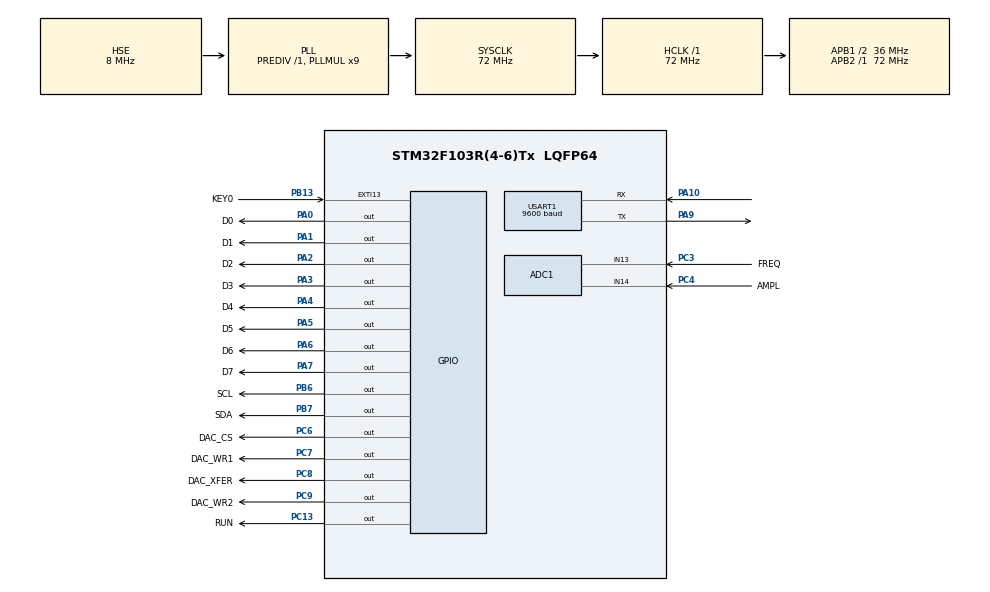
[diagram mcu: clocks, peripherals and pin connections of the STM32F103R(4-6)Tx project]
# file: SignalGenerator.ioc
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ADC1.Channel-1\#ChannelRegularConversion=ADC_CHANNEL_13
ADC1.Channel-2\#ChannelRegularConversion=ADC_CHANNEL_14
ADC1.DiscontinuousConvMode=ENABLE
ADC1.EnableRegularConversion=ENABLE
ADC1.NbrOfConversion=2
ADC1.NbrOfConversionFlag=1
ADC1.Rank-1\#ChannelRegularConversion=1
ADC1.Rank-2\#ChannelRegularConversion=2
ADC1.SamplingTime-1\#ChannelRegularConversion=ADC_SAMPLETIME_1CYCLE_5
ADC1.SamplingTime-2\#ChannelRegularConversion=ADC_SAMPLETIME_1CYCLE_5
ADC1.master=1
Mcu.Family=STM32F1
Mcu.Name=STM32F103R(4-6)Tx
Mcu.Package=LQFP64
NVIC.EXTI15_10_IRQn=true\:1\:0\:true\:false\:true\:true\:true
NVIC.PriorityGroup=NVIC_PRIORITYGROUP_4
NVIC.TIM2_IRQn=true\:3\:0\:true\:false\:true\:true\:true
NVIC.TIM3_IRQn=true\:2\:0\:true\:false\:true\:true\:true
PA0-WKUP.GPIO_Label=D0
PA0-WKUP.GPIO_PuPd=GPIO_PULLUP
PA0-WKUP.GPIO_Speed=GPIO_SPEED_FREQ_HIGH
PA0-WKUP.Signal=GPIO_Output
PA1.GPIO_Label=D1
PA1.GPIO_PuPd=GPIO_PULLUP
PA1.GPIO_Speed=GPIO_SPEED_FREQ_HIGH
PA1.Signal=GPIO_Output
PA10.Mode=Asynchronous
PA10.Signal=USART1_RX
PA13.Mode=Serial_Wire
PA13.Signal=SYS_JTMS-SWDIO
PA14.Mode=Serial_Wire
PA14.Signal=SYS_JTCK-SWCLK
PA2.GPIO_Label=D2
PA2.GPIO_PuPd=GPIO_PULLUP
PA2.GPIO_Speed=GPIO_SPEED_FREQ_HIGH
PA2.Signal=GPIO_Output
PA3.GPIO_Label=D3
PA3.GPIO_PuPd=GPIO_PULLUP
PA3.GPIO_Speed=GPIO_SPEED_FREQ_HIGH
PA3.Signal=GPIO_Output
PA4.GPIO_Label=D4
PA4.GPIO_PuPd=GPIO_PULLUP
PA4.GPIO_Speed=GPIO_SPEED_FREQ_HIGH
PA4.Signal=GPIO_Output
PA5.GPIO_Label=D5
PA5.GPIO_PuPd=GPIO_PULLUP
PA5.GPIO_Speed=GPIO_SPEED_FREQ_HIGH
PA5.Signal=GPIO_Output
PA6.GPIO_Label=D6
PA6.GPIO_PuPd=GPIO_PULLUP
PA6.GPIO_Speed=GPIO_SPEED_FREQ_HIGH
PA6.Signal=GPIO_Output
PA7.GPIO_Label=D7
PA7.GPIO_PuPd=GPIO_PULLUP
PA7.GPIO_Speed=GPIO_SPEED_FREQ_HIGH
PA7.Signal=GPIO_Output
PA9.Mode=Asynchronous
PA9.Signal=USART1_TX
PB13.GPIO_Label=KEY0
PB13.GPIO_ModeDefaultEXTI=GPIO_MODE_IT_FALLING
PB13.GPIO_PuPd=GPIO_PULLUP
PB13.Signal=GPXTI13
PB6.GPIO_Label=SCL
PB6.GPIO_PuPd=GPIO_PULLUP
PB6.GPIO_Speed=GPIO_SPEED_FREQ_HIGH
PB6.Signal=GPIO_Output
PB7.GPIO_Label=SDA
PB7.GPIO_PuPd=GPIO_PULLUP
PB7.GPIO_Speed=GPIO_SPEED_FREQ_HIGH
PB7.Signal=GPIO_Output
PC13-TAMPER-RTC.GPIO_Label=RUN
PC13-TAMPER-RTC.GPIO_PuPd=GPIO_PULLUP
PC13-TAMPER-RTC.GPIO_Speed=GPIO_SPEED_FREQ_HIGH
PC13-TAMPER-RTC.Signal=GPIO_Output
PC3.GPIO_Label=FREQ
PC3.Signal=ADCx_IN13
PC4.GPIO_Label=AMPL
PC4.Signal=ADCx_IN14
PC6.GPIO_Label=DAC_CS
PC6.GPIO_PuPd=GPIO_PULLUP
PC6.GPIO_Speed=GPIO_SPEED_FREQ_HIGH
PC6.Signal=GPIO_Output
PC7.GPIO_Label=DAC_WR1
PC7.GPIO_PuPd=GPIO_PULLUP
PC7.GPIO_Speed=GPIO_SPEED_FREQ_HIGH
PC7.Signal=GPIO_Output
PC8.GPIO_Label=DAC_XFER
PC8.GPIO_PuPd=GPIO_PULLUP
PC8.GPIO_Speed=GPIO_SPEED_FREQ_HIGH
PC8.Signal=GPIO_Output
PC9.GPIO_Label=DAC_WR2
PC9.GPIO_PuPd=GPIO_PULLUP
PC9.GPIO_Speed=GPIO_SPEED_FREQ_HIGH
PC9.Signal=GPIO_Output
PD0-OSC_IN.Mode=HSE-External-Oscillator
PD0-OSC_IN.Signal=RCC_OSC_IN
PD1-OSC_OUT.Mode=HSE-External-Oscillator
PD1-OSC_OUT.Signal=RCC_OSC_OUT
ProjectManager.HeapSize=0x200
ProjectManager.StackSize=0x400
ProjectManager.TargetToolchain=MDK-ARM V5.27
RCC.ADCPresc=RCC_ADCPCLK2_DIV6
RCC.AHBFreq_Value=72000000
RCC.APB1CLKDivider=RCC_HCLK_DIV2
RCC.APB1Freq_Value=36000000
RCC.APB1TimFreq_Value=72000000
RCC.APB2Freq_Value=72000000
RCC.APB2TimFreq_Value=72000000
RCC.HCLKFreq_Value=72000000
RCC.PLLMUL=RCC_PLL_MUL9
RCC.PLLSourceVirtual=RCC_PLLSOURCE_HSE
RCC.SYSCLKFreq_VALUE=72000000
RCC.SYSCLKSource=RCC_SYSCLKSOURCE_PLLCLK
RCC.USBFreq_Value=72000000
SH.ADCx_IN13.0=ADC1_IN13,IN13
SH.ADCx_IN14.0=ADC1_IN14,IN14
TIM2.AutoReloadPreload=TIM_AUTORELOAD_PRELOAD_ENABLE
TIM2.Period=9999
TIM2.Prescaler=71
TIM3.AutoReloadPreload=TIM_AUTORELOAD_PRELOAD_ENABLE
TIM3.Period=9999
TIM3.Prescaler=719
USART1.BaudRate=9600
USART1.VirtualMode=VM_ASYNC
VP_TIM2_VS_ClockSourceINT.Mode=Internal
VP_TIM3_VS_ClockSourceINT.Mode=Internal
board=custom

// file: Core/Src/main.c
/* USER CODE BEGIN Header */
/**
  ******************************************************************************
  * @file           : main.c
  * @brief          : Main program body
  ******************************************************************************
  * @attention
  *
  * <h2><center>&copy; Copyright (c) 2022 STMicroelectronics.
  * All rights reserved.</center></h2>
  *
  * This software component is licensed by ST under BSD 3-Clause license,
  * the "License"; You may not use this file except in compliance with the
  * License. You may obtain a copy of the License at:
  *                        opensource.org/licenses/BSD-3-Clause
  *
  ******************************************************************************
  */
/* USER CODE END Header */
#include "main.h"
#include "adc.h"
#include "tim.h"
#include "usart.h"
#include "gpio.h"

/* USER CODE BEGIN Includes */
#include "oled.h"
#include "dac0832.h"
#include <stdio.h>
#include <string.h>
/* USER CODE END Includes */

/* USER CODE BEGIN PD */
#define LED_RUN HAL_GPIO_TogglePin(RUN_GPIO_Port, RUN_Pin)
/* USER CODE END PD */

/* USER CODE BEGIN PM */
extern wave_info_t wave_info;
/* USER CODE END PM */

void SystemClock_Config(void);

int main(void)
{
  /* USER CODE BEGIN 1 */
	char buf[32] = {0};
  /* USER CODE END 1 */

  /* MCU Configuration--------------------------------------------------------*/

  /* Reset of all peripherals, Initializes the Flash interface and the Systick. */
  HAL_Init();

  /* Configure the system clock */
  SystemClock_Config();

  /* Initialize all configured peripherals */
  MX_GPIO_Init();
  MX_TIM2_Init();
  MX_ADC1_Init();
  MX_TIM3_Init();
  MX_USART1_UART_Init();
  /* USER CODE BEGIN 2 */
	OLED_Init();	/* OLED初始化 */

	HAL_TIM_Base_Start_IT(&htim3); /* 开启定时器3 */
	HAL_TIM_Base_Start_IT(&htim2); /* 开启定时器2 */
	HAL_ADCEx_Calibration_Start(&hadc1); /* 校准ADC */
  /* USER CODE END 2 */

  /* Infinite loop */
  /* USER CODE BEGIN WHILE */
  while (1)
  {
	  OLED_Clear_GRAM();

	  OLED_ShowString(1, 0, (uint8_t *)"SignalGenerator", 12);
	  if(wave_info.type == Sin)
	  {
		  printf("current wave: sin\r\n");
		  OLED_ShowString(10, 2, (uint8_t *)"wave : sin", 12);
	  }
	  else if(wave_info.type == Rect)
	  {
		  printf("current wave: rect\r\n");
		  OLED_ShowString(2, 2, (uint8_t *)"wave : rect", 12);
	  }
	  printf("        freq: %d HZ\r\n", wave_info.freq);
	  printf("        ampl: %d MV\r\n", (uint16_t)(wave_info.ampl*1000));

	  memset(buf, 0, sizeof(buf));
	  sprintf(buf, "freq : %d HZ", wave_info.freq);
	  OLED_ShowString(2, 4, (uint8_t *)buf, 12);
	  memset(buf, 0, sizeof(buf));
	  sprintf(buf, "ampl : %d MV", (uint16_t)(wave_info.ampl*1000));
	  OLED_ShowString(2, 6, (uint8_t *)buf, 12);

	  LED_RUN;
	  HAL_Delay(500);
    /* USER CODE END WHILE */

  }
}

void SystemClock_Config(void)
{
  RCC_OscInitTypeDef RCC_OscInitStruct = {0};
  RCC_ClkInitTypeDef RCC_ClkInitStruct = {0};
  RCC_PeriphCLKInitTypeDef PeriphClkInit = {0};

  /** Initializes the RCC Oscillators according to the specified parameters
  * in the RCC_OscInitTypeDef structure.
  */
  RCC_OscInitStruct.OscillatorType = RCC_OSCILLATORTYPE_HSE;
  RCC_OscInitStruct.HSEState = RCC_HSE_ON;
  RCC_OscInitStruct.HSEPredivValue = RCC_HSE_PREDIV_DIV1;
  RCC_OscInitStruct.HSIState = RCC_HSI_ON;
  RCC_OscInitStruct.PLL.PLLState = RCC_PLL_ON;
  RCC_OscInitStruct.PLL.PLLSource = RCC_PLLSOURCE_HSE;
  RCC_OscInitStruct.PLL.PLLMUL = RCC_PLL_MUL9;
  if (HAL_RCC_OscConfig(&RCC_OscInitStruct) != HAL_OK)
  {
    Error_Handler();
  }
  /** Initializes the CPU, AHB and APB buses clocks
  */
  RCC_ClkInitStruct.ClockType = RCC_CLOCKTYPE_HCLK|RCC_CLOCKTYPE_SYSCLK
                              |RCC_CLOCKTYPE_PCLK1|RCC_CLOCKTYPE_PCLK2;
  RCC_ClkInitStruct.SYSCLKSource = RCC_SYSCLKSOURCE_PLLCLK;
  RCC_ClkInitStruct.AHBCLKDivider = RCC_SYSCLK_DIV1;
  RCC_ClkInitStruct.APB1CLKDivider = RCC_HCLK_DIV2;
  RCC_ClkInitStruct.APB2CLKDivider = RCC_HCLK_DIV1;

  if (HAL_RCC_ClockConfig(&RCC_ClkInitStruct, FLASH_LATENCY_2) != HAL_OK)
  {
    Error_Handler();
  }
  PeriphClkInit.PeriphClockSelection = RCC_PERIPHCLK_ADC;
  PeriphClkInit.AdcClockSelection = RCC_ADCPCLK2_DIV6;
  if (HAL_RCCEx_PeriphCLKConfig(&PeriphClkInit) != HAL_OK)
  {
    Error_Handler();
  }
}

void Error_Handler(void)
{
  __disable_irq();
  while (1)
  {
  }
}

/************************ (C) COPYRIGHT STMicroelectronics *****END OF FILE****/
